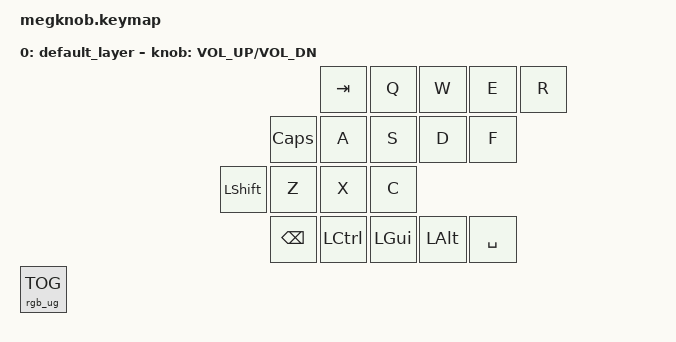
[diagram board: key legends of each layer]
/*
 * SPDX-License-Identifier: MIT
 */

#include <behaviors.dtsi>
#include <dt-bindings/zmk/keys.h>
#include <dt-bindings/zmk/rgb.h>

/ {
    keymap {
        compatible = "zmk,keymap";
        default_layer {
            /* 20 matrix key bindings (wheel push is the last one, RGB_TOG)
             * plus one sensor-bindings entry for the wheel_encoder defined
             * in megknob.overlay. The encoder's two GPIO phases used to be
             * two extra matrix key bindings here (RGB_EFF/RGB_BRI on
             * RC(3,1)/RC(3,2)); those positions no longer exist now that
             * rotation is decoded as a proper quadrature encoder instead of
             * two independent keys.
             *
             * Volume up/down is a placeholder default binding to make the
             * encoder immediately useful; direction (which way is "clockwise")
             * has not been verified against the physical wheel yet -- swap the
             * two inc_dec_kp arguments if rotation comes out reversed. */
            bindings = <
                &kp TAB   &kp Q      &kp W     &kp E    &kp R
                &kp CAPS  &kp A      &kp S     &kp D    &kp F
                &kp LSHFT &kp Z      &kp X     &kp C
                &kp BSPC  &kp LCTRL  &kp LGUI  &kp LALT &kp SPACE
                &rgb_ug RGB_TOG
            >;
            sensor-bindings = <&inc_dec_kp C_VOL_UP C_VOL_DN>;
        };
    };
};
